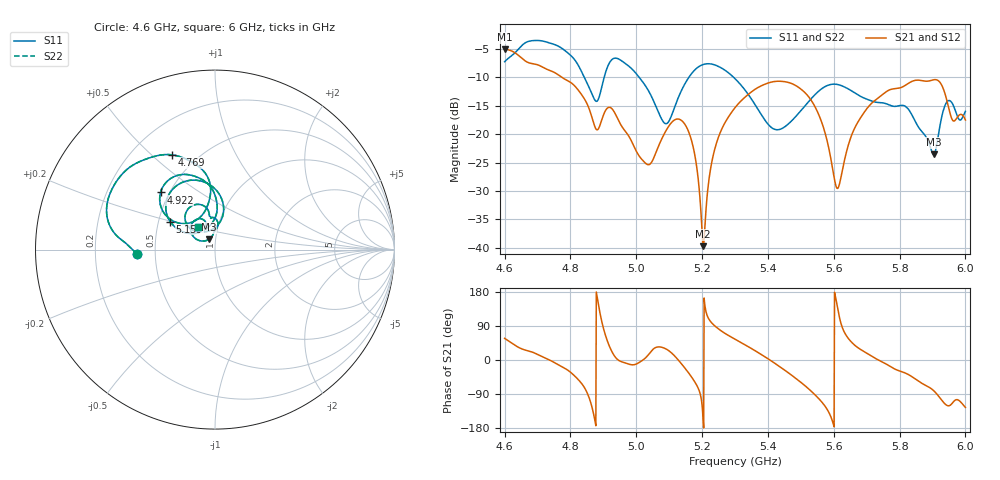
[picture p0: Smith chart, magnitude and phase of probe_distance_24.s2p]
! TOUCHSTONE file generated by CST MICROWAVE STUDIO
! Date and time: Sat Nov 30 13:11:03 2024
! Project name: test_tuning.cst
! Parameters = {airCoaxOuterDiameter=3; chamferAngle=45; chamferWidth=24; connectorLength=10; drillingHoleDiameter=4.1; feedLength=60; flareDiameter=130; flareLength=70; gratingDistance=0; gratingGap=1.90274; outletLength=30; polarizerLength=134; probe1Diameter=1.3; probe1Distance=19.5; probe1Length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
! Header version: 2024
! Port assignment regex: !\s*Touchstone port\s*([0-9]+)\s*=\s*(CST MWS port|CST DES external port|CST DES block port)\s*(.+)\s* \(\"(.*)\"\)(\s*mode\s*([0-9]+))?.*
! Touchstone port assignment:
! Touchstone port 1 = CST MWS port 1 ("Input1")
! Touchstone port 2 = CST MWS port 2 ("Input2")
# GHz S MA R 50
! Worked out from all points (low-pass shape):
!   1001 points, 4.6 GHz to 6 GHz, reference 50 ohm
!   highest |S21| = -5.07 dB at 4.6 GHz (marker M1); lowest = -39.7 dB at 5.203 GHz (marker M2)
!   |S21| within 3 dB of the highest: start of sweep to 4.711 GHz
!   lowest |S11| = -23.6 dB at 5.903 GHz (marker M3), VSWR 1.14, Z = 46.4 + j5.32 ohm
!   |S11| at or under -10 dB: 4.842 GHz to 4.902 GHz (60.31 MHz wide, 1.24 % of centre); 5.009 GHz to 5.16 GHz (150.7 MHz wide, 2.96 % of centre); 5.296 GHz to end of sweep
!   |S22| runs from -23.6 to -3.5 dB; largest |S21 - S12| = 7.2e-07
!   S11 on the Smith chart (normalised r, x): 4.6 GHz: 0.40, -0.02; 4.769 GHz: 0.36, +0.58; 4.922 GHz: 0.45, +0.35; 5.153 GHz: 0.58, +0.20; 6 GHz: 0.80, +0.21
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4.6  0.4339 -177.1  0.5576 57.1  0.5576 57.1  0.4339 -177.1
4.6728  0.6557 156.0  0.4255 23.9  0.4255 23.9  0.6557 156.0
4.7694  0.5811 114.6  0.3229 -15.6  0.3229 -15.6  0.5811 114.6
4.8338  0.3552 94.1  0.2231 -61.8  0.2231 -61.8  0.3552 94.1
4.88  0.1947 123.7  0.1094 172.3  0.1094 172.3  0.1947 123.7
4.922  0.4398 133.6  0.1712 29.2  0.1712 29.2  0.4398 133.6
5.0284  0.2652 87.9  0.05548 5.8  0.05548 5.8  0.2652 87.9
5.0676  0.1556 94.2  0.0785 34.6  0.0785 34.6  0.1556 94.2
5.097  0.1273 130.0  0.1156 25.7  0.1156 25.7  0.1273 130.0
5.153  0.2946 148.0  0.1151 -27.1  0.1151 -27.1  0.2946 148.0
5.1796  0.3716 137.5  0.0615 -60.3  0.0615 -60.3  0.3716 137.5
5.2034  0.4102 125.3  0.01036 -159.7  0.01036 -159.7  0.4103 125.3
5.2384  0.4069 107.9  0.07381 90.2  0.07381 90.2  0.4069 107.9
5.3  0.3081 85.4  0.171 55.0  0.171 55.0  0.3081 85.4
5.4232  0.1099 105.0  0.2915 -10.0  0.2915 -10.0  0.1099 105.0
5.5338  0.2089 138.4  0.1941 -84.2  0.1941 -84.2  0.2089 138.4
5.6122  0.2735 113.4  0.03342 134.8  0.03342 134.8  0.2735 113.4
5.6682  0.2265 100.2  0.1202 35.9  0.1202 35.9  0.2265 100.2
5.7676  0.1814 97.4  0.244 -15.0  0.244 -15.0  0.1814 97.4
5.9034  0.06643 120.8  0.3011 -80.8  0.3011 -80.8  0.06644 120.8
5.944  0.1925 132.4  0.1967 -119.8  0.1967 -119.8  0.1925 132.4
6  0.1588 126.5  0.1335 -125.1  0.1335 -125.1  0.1588 126.5
